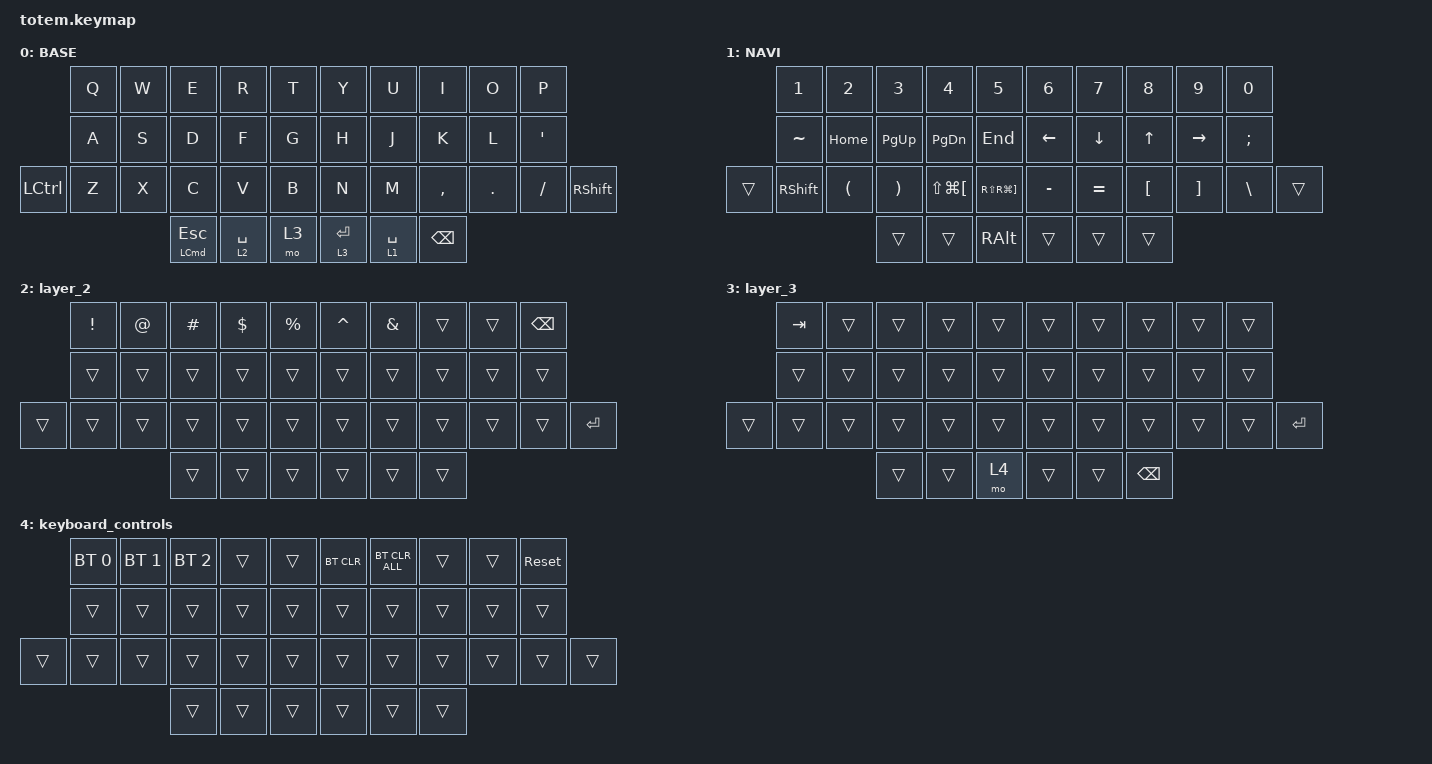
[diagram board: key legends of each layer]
//
//                                                        ▀▀▀▀▀     ▀▀▀▀▀          ▀▀█▀▀
//                                                        ▄▀▀▀▄  ▄  ▄▀▀▀▄  ▄  ▄▀▀▀▄  █  ▄▀▀▀▄
//                                                        █   █  █  █   █  █  █   █  █  █   █
//                                                         ▀▀▀   █   ▀▀▀   █   ▀▀▀   ▀   ▀▀▀
//                                                               █      ▄▄▄█▄▄▄    █   █  
//                                                               ▀      █  █  █     █▄█
//                                                             ▀▀▀▀▀    █  █  █      ▀
//                                                                      ▀  ▀  ▀
//
// ▄▄▄▄▄▄▄▄▄▄▄▄▄▄▄▄▄▄▄▄▄▄▄▄▄▄▄▄▄▄▄▄▄▄▄▄▄▄▄▄▄▄▄▄▄▄▄▄▄▄▄▄▄▄▄▄▄▄▄▄▄▄▄▄▄▄▄▄▄▄▄▄▄▄▄▄▄▄▄▄▄▄▄▄▄▄▄▄▄▄▄▄▄▄▄▄▄▄▄▄▄▄▄▄▄▄▄▄▄▄▄▄▄▄▄▄▄▄▄▄▄▄▄▄▄▄▄▄▄▄▄▄▄▄▄▄▄▄▄▄▄▄▄▄▄▄▄▄▄

#include <behaviors.dtsi>
#include <dt-bindings/zmk/bt.h>
#include <dt-bindings/zmk/keys.h>

#define BASE 0
#define NAV  1
#define SYM  2
#define ADJ  3
#define TVP1 4
#define TVP2 5

&mt {
    quick-tap-ms = <100>;
    global-quick-tap;
    flavor = "tap-preferred";
    tapping-term-ms = <170>;
};

/ {
    combos {
        compatible = "zmk,combos";

        combo_esc {
            timeout-ms = <50>;
            key-positions = <0 1>;
            bindings = <&kp ESC>;
        };

        combo_tvp {
            timeout-ms = <100>;
            key-positions = <11 12 13>;
            bindings = <&tog 0>;
        };
    };

    macros {
        gif: gif {
            label = "giphy";
            compatible = "zmk,behavior-macro";
            #binding-cells = <0>;
            bindings =
                <&macro_press>,
                <&kp LSHFT>,
                <&macro_tap>,
                <&kp N2>,
                <&macro_release>,
                <&kp LSHFT>,
                <&macro_tap>,
                <&kp G &kp I &kp F>;
        };
    };

    keymap {
        compatible = "zmk,keymap";

        // ▄▄▄▄▄▄▄▄▄▄▄▄▄▄▄▄▄▄▄▄▄▄▄▄▄▄▄▄▄▄▄▄▄▄▄▄▄▄▄▄▄▄▄▄▄▄▄▄▄▄▄▄▄▄▄▄▄▄▄▄▄▄▄▄▄▄▄▄▄▄▄▄▄▄▄▄▄▄▄▄▄▄▄▄▄▄▄▄▄▄▄▄▄▄▄▄▄▄▄▄▄▄▄▄▄▄▄▄▄▄▄▄▄▄▄▄▄▄▄▄▄▄▄▄▄▄▄▄▄▄▄▄▄▄▄▄▄▄▄▄▄▄▄▄▄▄▄▄▄

        base_layer {
            // ┏━━━━━━━━━━━━━━━━━━━━━━━━━━━━━━━━━━━━━━━┓

            label = "BASE";

            // ┗━━━━━━━━━━━━━━━━━━━━━━━━━━━━━━━━━━━━━━━┛
            //             ┏━━━━━━━━━━━┳━━━━━━━━━━━┳━━━━━━━━━━━┳━━━━━━━━━━━┳━━━━━━━━━━━┓   ┏━━━━━━━━━━━┳━━━━━━━━━━━┳━━━━━━━━━━━┳━━━━━━━━━━━┳━━━━━━━━━━━┓
            //             ┃     Q     ┃     W     ┃     F     ┃     P     ┃     G     ┃   ┃     J     ┃     L     ┃     U     ┃     Y     ┃     ;     ┃
            //             ┣━━━━━━━━━━━╋━━━━━━━━━━━╋━━━━━━━━━━━╋━━━━━━━━━━━╋━━━━━━━━━━━┫   ┣━━━━━━━━━━━╋━━━━━━━━━━━╋━━━━━━━━━━━╋━━━━━━━━━━━╋━━━━━━━━━━━┫
            //             ┃     A     ┃     R     ┃     S     ┃     T     ┃     D     ┃   ┃     H     ┃     N     ┃     E     ┃     I     ┃     O     ┃
            // ┏━━━━━━━━━━━╋━━━━━━━━━━━╋━━━━━━━━━━━╋━━━━━━━━━━━╋━━━━━━━━━━━╋━━━━━━━━━━━┫   ┣━━━━━━━━━━━╋━━━━━━━━━━━╋━━━━━━━━━━━╋━━━━━━━━━━━╋━━━━━━━━━━━╋━━━━━━━━━━━┓
            // ┃     Q     ┃     Z     ┃     X     ┃     C     ┃     V     ┃     B     ┃   ┃     K     ┃     M     ┃     ,     ┃     .     ┃     /     ┃     \     ┃
            // ┗━━━━━━━━━━━┻━━━━━━━━━━━┻━━━━━━━━━━━╋━━━━━━━━━━━╋━━━━━━━━━━━╋━━━━━━━━━━━┫   ┣━━━━━━━━━━━╋━━━━━━━━━━━╋━━━━━━━━━━━╋━━━━━━━━━━━┻━━━━━━━━━━━┻━━━━━━━━━━━┛
            //                                     ┃    DEL    ┃    TAB    ┃    SPC    ┃   ┃   ENTER   ┃           ┃   BSPC    ┃
            //                                     ┗━━━━━━━━━━━┻━━━━━━━━━━━┻━━━━━━━━━━━┛   ┗━━━━━━━━━━━┻━━━━━━━━━━━┻━━━━━━━━━━━┛

            bindings = <
           &kp Q  &kp W  &kp E         &kp R        &kp T    &kp Y        &kp U        &kp I          &kp O    &kp P
           &kp A  &kp S  &kp D         &kp F        &kp G    &kp H        &kp J        &kp K          &kp L    &kp SQT
&kp LCTRL  &kp Z  &kp X  &kp C         &kp V        &kp B    &kp N        &kp M        &kp COMMA      &kp DOT  &kp FSLH  &kp RSHFT
                         &mt LCMD ESC  &lt 2 SPACE  &mo 3    &lt 3 ENTER  &lt 1 SPACE  &kp BACKSPACE
            >;
        };

        // ▄▄▄▄▄▄▄▄▄▄▄▄▄▄▄▄▄▄▄▄▄▄▄▄▄▄▄▄▄▄▄▄▄▄▄▄▄▄▄▄▄▄▄▄▄▄▄▄▄▄▄▄▄▄▄▄▄▄▄▄▄▄▄▄▄▄▄▄▄▄▄▄▄▄▄▄▄▄▄▄▄▄▄▄▄▄▄▄▄▄▄▄▄▄▄▄▄▄▄▄▄▄▄▄▄▄▄▄▄▄▄▄▄▄▄▄▄▄▄▄▄▄▄▄▄▄▄▄▄▄▄▄▄▄▄▄▄▄▄▄▄▄▄▄▄▄▄▄▄

        symbols {
            // ┏━━━━━━━━━━━━━━━━━━━━━━━━━━━━━━━━━━━━━━━┓

            label = "NAVI";

            // ┗━━━━━━━━━━━━━━━━━━━━━━━━━━━━━━━━━━━━━━━┛
            //             ┏━━━━━━━━━━━┳━━━━━━━━━━━┳━━━━━━━━━━━┳━━━━━━━━━━━┳━━━━━━━━━━━┓   ┏━━━━━━━━━━━┳━━━━━━━━━━━┳━━━━━━━━━━━┳━━━━━━━━━━━┳━━━━━━━━━━━┓
            //             ┃           ┃           ┃     UP    ┃           ┃     {     ┃   ┃     }     ┃     7     ┃     8     ┃     9     ┃     +     ┃
            //             ┣━━━━━━━━━━━╋━━━━━━━━━━━╋━━━━━━━━━━━╋━━━━━━━━━━━╋━━━━━━━━━━━┫   ┣━━━━━━━━━━━╋━━━━━━━━━━━╋━━━━━━━━━━━╋━━━━━━━━━━━╋━━━━━━━━━━━┫
            //             ┃   SHIFT   ┃   LEFT    ┃    DOWN   ┃   RIGHT   ┃     [     ┃   ┃     ]     ┃     4     ┃     5     ┃     6     ┃     -     ┃
            // ┏━━━━━━━━━━━╋━━━━━━━━━━━╋━━━━━━━━━━━╋━━━━━━━━━━━╋━━━━━━━━━━━╋━━━━━━━━━━━┫   ┣━━━━━━━━━━━╋━━━━━━━━━━━╋━━━━━━━━━━━╋━━━━━━━━━━━╋━━━━━━━━━━━╋━━━━━━━━━━━┓
            // ┃           ┃           ┃   P UP    ┃  C LOCK   ┃  P DOWN   ┃     (     ┃   ┃     )     ┃     1     ┃     2     ┃     3     ┃     *     ┃           ┃
            // ┗━━━━━━━━━━━┻━━━━━━━━━━━┻━━━━━━━━━━━╋━━━━━━━━━━━╋━━━━━━━━━━━╋━━━━━━━━━━━┫   ┣━━━━━━━━━━━╋━━━━━━━━━━━╋━━━━━━━━━━━╋━━━━━━━━━━━┻━━━━━━━━━━━┻━━━━━━━━━━━┛
            //                                     ┃           ┃    TAB    ┃    SPC    ┃   ┃    DEL    ┃     0     ┃           ┃
            //                                     ┗━━━━━━━━━━━┻━━━━━━━━━━━┻━━━━━━━━━━━┛   ┗━━━━━━━━━━━┻━━━━━━━━━━━┻━━━━━━━━━━━┛

            bindings = <
        &kp N1      &kp N2                &kp NUMBER_3           &kp NUMBER_4              &kp N5                       &kp NUMBER_6  &kp N7     &kp N8            &kp N9             &kp N0
        &kp TILDE   &kp HOME              &kp PG_UP              &kp PG_DN                 &kp END                      &kp LEFT      &kp DOWN   &kp UP            &kp RIGHT          &kp SEMICOLON
&trans  &kp RSHIFT  &kp LEFT_PARENTHESIS  &kp RIGHT_PARENTHESIS  &kp LS(LG(LEFT_BRACKET))  &kp RS(RG(RIGHT_BRACKET))    &kp MINUS     &kp EQUAL  &kp LEFT_BRACKET  &kp RIGHT_BRACKET  &kp BACKSLASH  &trans
                                          &trans                 &trans                    &kp RALT                     &trans        &trans     &trans
            >;
        };

        // ▄▄▄▄▄▄▄▄▄▄▄▄▄▄▄▄▄▄▄▄▄▄▄▄▄▄▄▄▄▄▄▄▄▄▄▄▄▄▄▄▄▄▄▄▄▄▄▄▄▄▄▄▄▄▄▄▄▄▄▄▄▄▄▄▄▄▄▄▄▄▄▄▄▄▄▄▄▄▄▄▄▄▄▄▄▄▄▄▄▄▄▄▄▄▄▄▄▄▄▄▄▄▄▄▄▄▄▄▄▄▄▄▄▄▄▄▄▄▄▄▄▄▄▄▄▄▄▄▄▄▄▄▄▄▄▄▄▄▄▄▄▄▄▄▄▄▄▄▄
        // ▄▄▄▄▄▄▄▄▄▄▄▄▄▄▄▄▄▄▄▄▄▄▄▄▄▄▄▄▄▄▄▄▄▄▄▄▄▄▄▄▄▄▄▄▄▄▄▄▄▄▄▄▄▄▄▄▄▄▄▄▄▄▄▄▄▄▄▄▄▄▄▄▄▄▄▄▄▄▄▄▄▄▄▄▄▄▄▄▄▄▄▄▄▄▄▄▄▄▄▄▄▄▄▄▄▄▄▄▄▄▄▄▄▄▄▄▄▄▄▄▄▄▄▄▄▄▄▄▄▄▄▄▄▄▄▄▄▄▄▄▄▄▄▄▄▄▄▄▄
        // ▄▄▄▄▄▄▄▄▄▄▄▄▄▄▄▄▄▄▄▄▄▄▄▄▄▄▄▄▄▄▄▄▄▄▄▄▄▄▄▄▄▄▄▄▄▄▄▄▄▄▄▄▄▄▄▄▄▄▄▄▄▄▄▄▄▄▄▄▄▄▄▄▄▄▄▄▄▄▄▄▄▄▄▄▄▄▄▄▄▄▄▄▄▄▄▄▄▄▄▄▄▄▄▄▄▄▄▄▄▄▄▄▄▄▄▄▄▄▄▄▄▄▄▄▄▄▄▄▄▄▄▄▄▄▄▄▄▄▄▄▄▄▄▄▄▄▄▄▄
        // ▄▄▄▄▄▄▄▄▄▄▄▄▄▄▄▄▄▄▄▄▄▄▄▄▄▄▄▄▄▄▄▄▄▄▄▄▄▄▄▄▄▄▄▄▄▄▄▄▄▄▄▄▄▄▄▄▄▄▄▄▄▄▄▄▄▄▄▄▄▄▄▄▄▄▄▄▄▄▄▄▄▄▄▄▄▄▄▄▄▄▄▄▄▄▄▄▄▄▄▄▄▄▄▄▄▄▄▄▄▄▄▄▄▄▄▄▄▄▄▄▄▄▄▄▄▄▄▄▄▄▄▄▄▄▄▄▄▄▄▄▄▄▄▄▄▄▄▄▄

        layer_2 {
            bindings = <
        &kp EXCLAMATION  &kp AT_SIGN  &kp HASH  &kp DOLLAR  &kp PERCENT    &kp CARET  &kp AMPERSAND  &trans  &trans  &kp BACKSPACE
        &trans           &trans       &trans    &trans      &trans         &trans     &trans         &trans  &trans  &trans
&trans  &trans           &trans       &trans    &trans      &trans         &trans     &trans         &trans  &trans  &trans         &kp ENTER
                                      &trans    &trans      &trans         &trans     &trans         &trans
            >;
        };

        layer_3 {
            bindings = <
        &kp TAB  &trans  &trans  &trans  &trans    &trans  &trans  &trans         &trans  &trans
        &trans   &trans  &trans  &trans  &trans    &trans  &trans  &trans         &trans  &trans
&trans  &trans   &trans  &trans  &trans  &trans    &trans  &trans  &trans         &trans  &trans  &kp ENTER
                         &trans  &trans  &mo 4     &trans  &trans  &kp BACKSPACE
            >;
        };

        keyboard_controls {
            bindings = <
        &bt BT_SEL 0  &bt BT_SEL 1  &bt BT_SEL 2  &trans  &trans    &bt BT_CLR  &bt BT_CLR_ALL  &trans  &trans  &sys_reset
        &trans        &trans        &trans        &trans  &trans    &trans      &trans          &trans  &trans  &trans
&trans  &trans        &trans        &trans        &trans  &trans    &trans      &trans          &trans  &trans  &trans      &trans
                                    &trans        &trans  &trans    &trans      &trans          &trans
            >;
        };
    };
};
